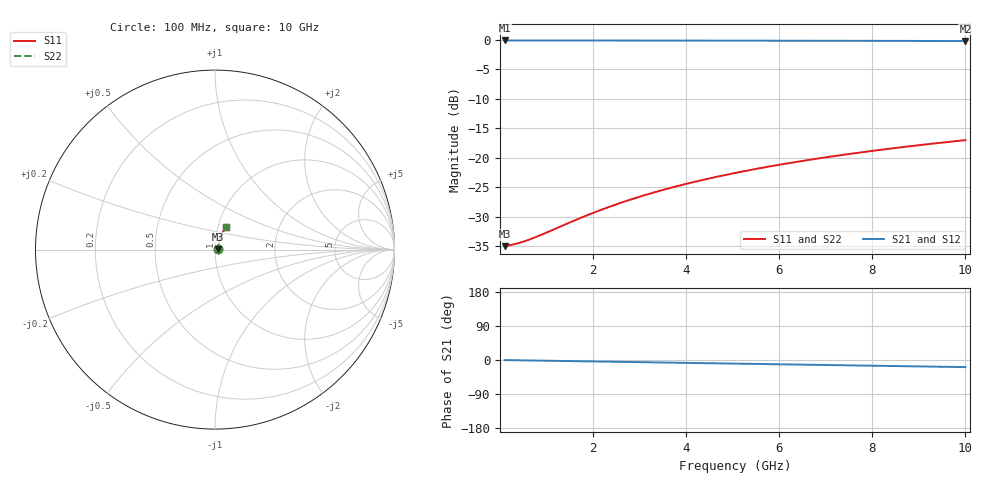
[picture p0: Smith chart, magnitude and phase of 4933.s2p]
# Hz S RI R 50.00
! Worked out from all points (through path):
!   100 points, 100 MHz to 10 GHz, reference 50 ohm
!   highest |S21| = -0.16 dB at 100 MHz (marker M1); lowest = -0.3 dB at 10 GHz (marker M2)
!   group delay of S21, straight-line fit = 5.22 ps
!   lowest |S11| = -35.0 dB at 100 MHz (marker M3), VSWR 1.04, Z = 51.8 + j0.142 ohm
!   |S11| at or under -10 dB: start of sweep to end of sweep
!   |S22| runs from -35.0 to -17.0 dB; largest |S21 - S12| = 0
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1e8  0.0178 0.00137  0.9822 -0.00324  0.9822 -0.00324  0.0178 0.00137
3e8  0.018 0.00412  0.982 -0.00972  0.982 -0.00972  0.018 0.00412
4e8  0.0181 0.00549  0.9818 -0.013  0.9818 -0.013  0.0181 0.00549
6e8  0.0183 0.00823  0.9816 -0.0194  0.9816 -0.0194  0.0183 0.00823
9e8  0.0187 0.0123  0.9812 -0.0292  0.9812 -0.0292  0.0187 0.0123
1.5e9  0.0195 0.0205  0.9801 -0.0486  0.9801 -0.0486  0.0195 0.0205
1.8e9  0.02 0.0246  0.9794 -0.0582  0.9794 -0.0582  0.02 0.0246
2.2e9  0.0208 0.03  0.9783 -0.0711  0.9783 -0.0711  0.0208 0.03
2.6e9  0.0218 0.0354  0.977 -0.084  0.977 -0.084  0.0218 0.0354
3e9  0.0229 0.0408  0.9755 -0.0968  0.9755 -0.0968  0.0229 0.0408
3.4e9  0.0241 0.0461  0.9738 -0.1096  0.9738 -0.1096  0.0241 0.0461
3.8e9  0.0254 0.0514  0.972 -0.1224  0.972 -0.1224  0.0254 0.0514
4.2e9  0.0269 0.0567  0.9699 -0.1351  0.9699 -0.1351  0.0269 0.0567
4.6e9  0.0285 0.0619  0.9676 -0.1478  0.9676 -0.1478  0.0285 0.0619
5.1e9  0.0308 0.0683  0.9646 -0.1636  0.9646 -0.1636  0.0308 0.0683
5.5e9  0.0327 0.0734  0.9619 -0.1762  0.9619 -0.1762  0.0327 0.0734
5.9e9  0.0348 0.0784  0.959 -0.1887  0.959 -0.1887  0.0348 0.0784
6.7e9  0.0393 0.0883  0.9527 -0.2135  0.9527 -0.2135  0.0393 0.0883
7.5e9  0.0443 0.0979  0.9457 -0.2381  0.9457 -0.2381  0.0443 0.0979
8.4e9  0.0505 0.1084  0.9369 -0.2653  0.9369 -0.2653  0.0505 0.1084
9.2e9  0.0565 0.1174  0.9284 -0.2892  0.9284 -0.2892  0.0565 0.1174
1e10  0.0629 0.126  0.9192 -0.3127  0.9192 -0.3127  0.0629 0.126
